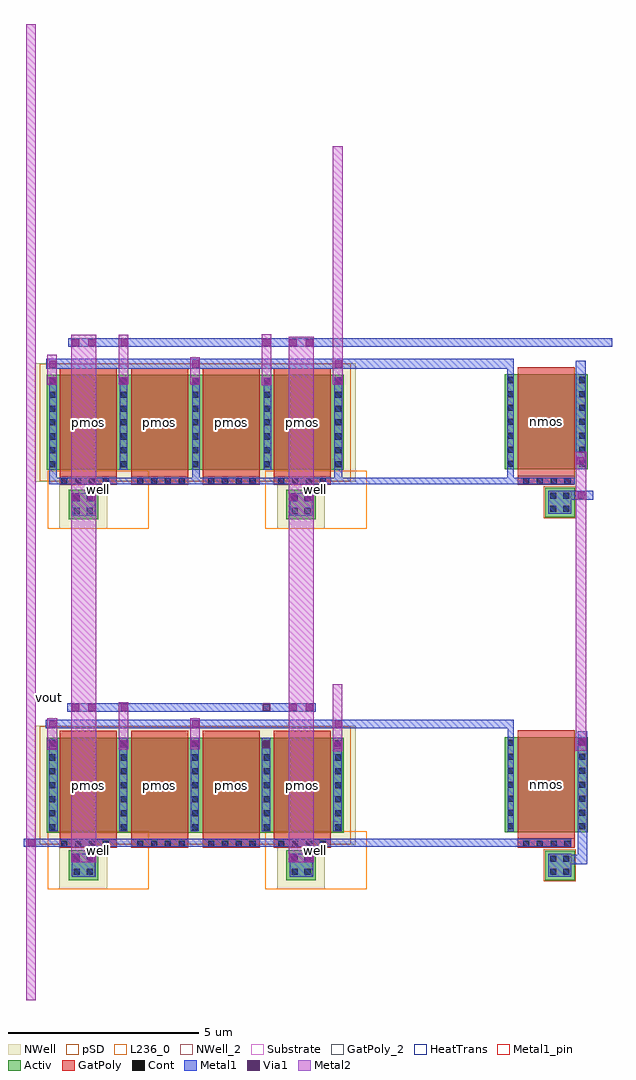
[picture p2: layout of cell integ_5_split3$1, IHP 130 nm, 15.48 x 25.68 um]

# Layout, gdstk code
from math import pi, radians
import gdstk
lib = gdstk.Library(unit=1e-6, precision=1e-09)
def R(c, l, rs):  # rectangles x0, y0, x1, y1
    for r in rs: c.add(gdstk.rectangle(r[:2], r[2:], *l))
def A(c, l, x, y, w, h, nx, ny, dx, dy):  # array of equal rectangles
    R(c, l, [(x+i*dx, y+j*dy, x+i*dx+w, y+j*dy+h) for i in range(nx) for j in range(ny)])
def P(c, l, *ps):  # polygons
    for p in ps: c.add(gdstk.Polygon(p, *l))
Activ = (1, 0)
GatPoly = (5, 0)
GatPoly_2 = (5, 2)
Cont = (6, 0)
Metal1 = (8, 0)
Metal1_pin = (8, 2)
Metal2 = (10, 0)
pSD = (14, 0)
Via1 = (19, 0)
NWell = (31, 0)
NWell_2 = (31, 2)
Substrate = (40, 0)
HeatTrans = (51, 0)
L236_0 = (236, 0)

ptap = lib.new_cell('ptap')
R(ptap, Activ, [(0,0,0.78,0.78)])
R(ptap, Cont, [(0.14,0.14,0.3,0.3), (0.48,0.14,0.64,0.3), (0.14,0.48,0.3,0.64), (0.48,0.48,0.64,0.64)])
R(ptap, Metal1, [(0.09,0.09,0.69,0.69)])
R(ptap, Metal1_pin, [(0.09,0.09,0.69,0.69)])
R(ptap, pSD, [(-0.03,-0.03,0.81,0.81)])

integ_5_split3_1 = lib.new_cell('integ_5_split3$1')
A(integ_5_split3_1, Activ, 0.029, 0.01, 0.3, 0.3, 5, 2, 1.88, 9.546)
R(integ_5_split3_1, Activ, [(13.142,-1.237,13.922,-0.457), (0.605,-1.235,1.385,-0.455), (6.331,-1.235,7.111,-0.455), (0.029,0.01,7.849,2.51), (12.087,0.026,14.267,2.526), (12.087,0.026,12.387,0.326), (13.967,0.026,14.267,0.326), (0.605,8.255,1.385,9.035), (6.331,8.255,7.111,9.035), (0.029,9.556,7.849,12.056), (12.087,9.572,14.267,12.072), (12.087,9.572,12.387,9.872), (13.967,9.572,14.267,9.872)])
R(integ_5_split3_1, GatPoly, [(2.249,-0.385,3.749,2.69), (4.129,-0.382,5.629,2.69), (0.369,-0.38,1.869,2.69), (6.009,-0.379,7.509,2.69), (12.427,-0.378,13.927,2.706), (0.369,-0.17,1.869,2.69), (2.249,9.161,3.749,12.236), (4.129,9.164,5.629,12.236), (0.369,9.166,1.869,12.236), (6.009,9.167,7.509,12.236), (12.427,9.168,13.927,12.252), (0.369,9.376,1.869,12.236)])
R(integ_5_split3_1, GatPoly_2, [(12.427,-0.154,13.927,2.706), (12.427,9.392,13.927,12.252)])
A(integ_5_split3_1, Cont, 0.099, 0.08, 0.16, 0.16, 5, 3, 1.88, 0.365)
A(integ_5_split3_1, Cont, 12.157, 0.096, 0.16, 0.16, 1, 3, 0, 0.365)
A(integ_5_split3_1, Cont, 14.037, 0.096, 0.16, 0.16, 1, 3, 0, 0.365)
A(integ_5_split3_1, Cont, 0.099, 1.18, 0.16, 0.16, 5, 3, 1.88, 0.365)
A(integ_5_split3_1, Cont, 12.157, 1.196, 0.16, 0.16, 1, 3, 0, 0.365)
A(integ_5_split3_1, Cont, 14.037, 1.196, 0.16, 0.16, 1, 3, 0, 0.365)
A(integ_5_split3_1, Cont, 0.099, 2.28, 0.16, 0.16, 5, 2, 1.88, 7.346)
A(integ_5_split3_1, Cont, 12.157, 9.642, 0.16, 0.16, 1, 3, 0, 0.365)
A(integ_5_split3_1, Cont, 14.037, 9.642, 0.16, 0.16, 1, 3, 0, 0.365)
A(integ_5_split3_1, Cont, 0.099, 9.991, 0.16, 0.16, 5, 2, 1.88, 0.365)
A(integ_5_split3_1, Cont, 0.099, 10.726, 0.16, 0.16, 5, 3, 1.88, 0.365)
A(integ_5_split3_1, Cont, 12.157, 10.742, 0.16, 0.16, 1, 3, 0, 0.365)
A(integ_5_split3_1, Cont, 14.037, 10.742, 0.16, 0.16, 1, 3, 0, 0.365)
A(integ_5_split3_1, Cont, 0.099, 11.826, 0.16, 0.16, 5, 1, 1.88, 0)
R(integ_5_split3_1, Cont, [(13.282,-1.097,13.442,-0.937), (13.622,-1.097,13.782,-0.937), (0.745,-1.095,0.905,-0.935), (1.085,-1.095,1.245,-0.935), (6.471,-1.095,6.631,-0.935), (6.811,-1.095,6.971,-0.935), (13.282,-0.757,13.442,-0.597), (13.622,-0.757,13.782,-0.597), (0.745,-0.755,0.905,-0.595), (1.085,-0.755,1.245,-0.595), (6.471,-0.755,6.631,-0.595), (6.811,-0.755,6.971,-0.595), (12.562,-0.36,12.722,-0.2), (12.927,-0.36,13.087,-0.2), (13.287,-0.36,13.447,-0.2), (13.652,-0.36,13.812,-0.2), (0.413,-0.358,0.573,-0.198), (0.778,-0.358,0.938,-0.198), (1.138,-0.358,1.298,-0.198), (1.503,-0.358,1.663,-0.198), (2.414,-0.358,2.574,-0.198), (2.779,-0.358,2.939,-0.198), (3.139,-0.358,3.299,-0.198), (3.504,-0.358,3.664,-0.198), (4.275,-0.358,4.435,-0.198), (4.64,-0.358,4.8,-0.198), (5,-0.358,5.16,-0.198), (5.365,-0.358,5.525,-0.198), (6.126,-0.358,6.286,-0.198), (6.491,-0.358,6.651,-0.198), (6.851,-0.358,7.011,-0.198), (7.216,-0.358,7.376,-0.198), (12.157,2.296,12.317,2.456), (14.037,2.296,14.197,2.456), (0.745,8.395,0.905,8.555), (1.085,8.395,1.245,8.555), (6.471,8.395,6.631,8.555), (6.811,8.395,6.971,8.555), (0.745,8.735,0.905,8.895), (1.085,8.735,1.245,8.895), (6.471,8.735,6.631,8.895), (6.811,8.735,6.971,8.895), (12.562,9.186,12.722,9.346), (12.927,9.186,13.087,9.346), (13.287,9.186,13.447,9.346), (13.652,9.186,13.812,9.346), (0.413,9.188,0.573,9.348), (0.778,9.188,0.938,9.348), (1.138,9.188,1.298,9.348), (1.503,9.188,1.663,9.348), (2.414,9.188,2.574,9.348), (2.779,9.188,2.939,9.348), (3.139,9.188,3.299,9.348), (3.504,9.188,3.664,9.348), (4.275,9.188,4.435,9.348), (4.64,9.188,4.8,9.348), (5,9.188,5.16,9.348), (5.365,9.188,5.525,9.348), (6.126,9.188,6.286,9.348), (6.491,9.188,6.651,9.348), (6.851,9.188,7.011,9.348), (7.216,9.188,7.376,9.348), (12.157,11.842,12.317,12.002), (14.037,11.842,14.197,12.002)])
R(integ_5_split3_1, Metal1, [(13.232,-1.147,13.826,-0.547), (0.695,-1.145,1.317,-0.545), (6.421,-1.145,7.041,-0.545), (-0.571,-0.36,13.826,-0.148), (5.69,0.046,5.911,2.51), (0.089,0.047,0.314,2.466), (7.573,0.05,7.789,2.51), (12.157,0.05,12.317,2.921), (1.934,0.054,2.145,2.51), (3.814,0.056,4.026,2.51), (0.01,2.757,12.317,2.977), (0.575,3.193,7.108,3.422), (0.695,8.345,1.317,8.945), (6.421,8.345,7.041,8.945), (13.827,8.772,14.404,9.004), (12.151,9.34,12.321,9.465), (1.956,9.556,2.154,11.991), (1.979,9.556,2.154,11.991), (5.739,9.556,5.933,11.988), (13.955,9.572,14.207,12.424), (0.591,12.796,14.906,13.018)])
P(integ_5_split3_1, Metal1, [(13.811,-0.819),(13.811,-0.565),(14.007,-0.565),(14.007,2.683),(14.248,2.683),(14.248,-0.819)],
  [(12.151,9.465),(12.151,12.215),(0.021,12.215),(0.021,12.477),(12.321,12.477),(12.321,9.465)],
  [(0.091,9.186),(0.091,11.995),(0.292,11.995),(0.292,9.348),(3.859,9.348),(3.859,11.987),(4.053,11.987),(4.053,9.348),(7.596,9.348),(7.596,11.989),(7.812,11.989),(7.812,9.348),(13.921,9.348),(13.921,9.186)])
R(integ_5_split3_1, Metal1_pin, [(13.232,-1.147,13.826,-0.547), (0.695,-1.145,1.295,-0.545), (6.421,-1.145,7.021,-0.545), (14.007,0.026,14.248,2.526), (12.157,0.05,12.317,2.526), (0.695,8.345,1.295,8.945), (6.421,8.345,7.021,8.945), (12.157,9.572,12.317,12.072), (13.955,9.572,14.197,12.072)])
R(integ_5_split3_1, Metal2, [(-0.503,-4.39,-0.254,21.289), (0.672,-0.769,1.333,13.119), (6.395,-0.763,7.06,13.063), (7.561,2.152,7.81,3.923), (13.95,2.166,14.23,10.031), (0.044,2.193,0.309,3.019), (1.924,2.194,2.172,3.442), (3.807,2.201,4.055,3.017), (5.687,11.79,5.935,13.127), (0.044,11.793,0.292,12.584), (1.924,11.794,2.172,13.112), (3.807,11.794,4.055,12.521), (7.561,11.795,7.814,18.074)])
R(integ_5_split3_1, pSD, [(13.112,-1.267,13.952,-0.427), (-0.151,-0.29,8.029,2.81), (-0.151,9.256,8.029,12.356)])
R(integ_5_split3_1, Via1, [(0.698,-0.75,0.888,-0.56), (1.12,-0.75,1.31,-0.56), (6.422,-0.744,6.612,-0.554), (6.847,-0.744,7.037,-0.554), (-0.474,-0.351,-0.284,-0.161), (7.584,2.209,7.774,2.399), (0.102,2.222,0.292,2.412), (5.706,2.235,5.896,2.425), (1.945,2.251,2.135,2.441), (3.826,2.254,4.016,2.444), (14.027,2.303,14.217,2.493), (7.609,2.77,7.799,2.96), (0.092,2.773,0.282,2.963), (3.855,2.775,4.045,2.965), (0.695,3.212,0.885,3.402), (1.117,3.213,1.307,3.403), (1.972,3.213,2.162,3.403), (5.718,3.215,5.908,3.405), (6.412,3.215,6.602,3.405), (6.845,3.215,7.035,3.405), (0.698,8.74,0.888,8.93), (1.12,8.74,1.31,8.93), (6.422,8.746,6.612,8.936), (6.847,8.746,7.037,8.936), (13.998,8.793,14.188,8.983), (13.978,9.705,14.168,9.895), (3.859,11.797,4.049,11.987), (5.741,11.797,5.931,11.987), (7.621,11.797,7.811,11.987), (1.961,11.8,2.151,11.99), (0.101,11.802,0.291,11.992), (0.092,12.245,0.282,12.435), (3.855,12.247,4.045,12.437), (7.609,12.25,7.799,12.44), (6.845,12.808,7.035,12.998), (1.117,12.809,1.307,12.999), (0.695,12.81,0.885,13), (6.412,12.811,6.602,13.001), (1.972,12.812,2.162,13.002), (5.718,12.812,5.908,13.002)])
R(integ_5_split3_1, NWell, [(0.365,-1.475,1.625,-0.215), (6.091,-1.475,7.351,-0.215), (-0.281,-0.3,8.159,2.82), (0.365,8.015,1.625,9.275), (6.091,8.015,7.351,9.275), (-0.281,9.246,8.159,12.366)])
R(integ_5_split3_1, NWell_2, [(0.605,-1.235,1.385,-0.455), (6.331,-1.235,7.111,-0.455)])
R(integ_5_split3_1, Substrate, [(7.549,0.01,7.849,0.31), (7.549,9.556,7.849,9.856)])
A(integ_5_split3_1, HeatTrans, 0.369, -0.17, 1.5, 2.86, 4, 2, 1.88, 9.546)
R(integ_5_split3_1, HeatTrans, [(12.427,-0.154,13.927,2.706), (12.427,9.392,13.927,12.252)])
R(integ_5_split3_1, L236_0, [(0.051,-1.475,2.719,0.045), (5.777,-1.475,8.445,0.045), (0.051,8.015,2.719,9.535), (5.777,8.015,8.445,9.535)])
integ_5_split3_1.add(gdstk.Reference(ptap, (13.922,9.094), rotation=pi))
integ_5_split3_1.add(gdstk.Label('vout', (0.091,3.574), layer=8, texttype=0))
integ_5_split3_1.add(gdstk.Label('nmos', (13.177,1.276), layer=51, texttype=0))
integ_5_split3_1.add(gdstk.Label('nmos', (13.177,10.822), layer=51, texttype=0))
integ_5_split3_1.add(gdstk.Label('pmos', (1.119,1.26), layer=51, texttype=0))
integ_5_split3_1.add(gdstk.Label('pmos', (2.999,1.26), layer=51, texttype=0))
integ_5_split3_1.add(gdstk.Label('pmos', (4.879,1.26), layer=51, texttype=0))
integ_5_split3_1.add(gdstk.Label('pmos', (6.759,1.26), layer=51, texttype=0))
integ_5_split3_1.add(gdstk.Label('pmos', (1.119,10.806), layer=51, texttype=0))
integ_5_split3_1.add(gdstk.Label('pmos', (2.999,10.806), layer=51, texttype=0))
integ_5_split3_1.add(gdstk.Label('pmos', (4.879,10.806), layer=51, texttype=0))
integ_5_split3_1.add(gdstk.Label('pmos', (6.759,10.806), layer=51, texttype=0))
integ_5_split3_1.add(gdstk.Label('well', (1.385,-0.455), layer=63, texttype=0))
integ_5_split3_1.add(gdstk.Label('well', (7.111,-0.455), layer=63, texttype=0))
integ_5_split3_1.add(gdstk.Label('well', (1.385,9.035), layer=63, texttype=0))
integ_5_split3_1.add(gdstk.Label('well', (7.111,9.035), layer=63, texttype=0))
integ_5_split3_1.add(gdstk.Label('pmos', (1.119,1.26), layer=63, texttype=0))
integ_5_split3_1.add(gdstk.Label('pmos', (1.119,10.806), layer=63, texttype=0))
integ_5_split3_1.add(gdstk.Label('[@instanceName]', (1.385,-0.715), layer=236, texttype=1))
integ_5_split3_1.add(gdstk.Label('[@instanceName]', (7.111,-0.715), layer=236, texttype=1))
integ_5_split3_1.add(gdstk.Label('[@instanceName]', (1.385,8.775), layer=236, texttype=1))
integ_5_split3_1.add(gdstk.Label('[@instanceName]', (7.111,8.775), layer=236, texttype=1))

lib.write_gds('integ_5_split3_1.gds')
